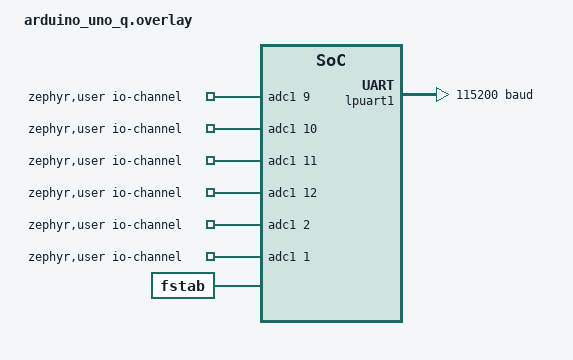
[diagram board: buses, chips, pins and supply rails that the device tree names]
/*
 * Copyright (c) 2026 Jim Wyatt
 * SPDX-License-Identifier: MIT
 *
 * The devicetree overlay for MicroPython's Zephyr port on the UNO Q, used
 * INSTEAD of the port's own boards/arduino_uno_q.overlay: mcu/micropython/
 * build.sh passes this file as DTC_OVERLAY_FILE, and naming one turns the
 * board overlay off. Two reasons it is replaced rather than added to.
 *
 * IT DOES NOT PARSE
 * -----------------
 * MicroPython v1.29.0's overlay opens with a license block written as '#'
 * lines. The devicetree preprocessor passes those through, and Zephyr's
 * devicetree parser stops at the first one:
 *
 *   arduino_uno_q.overlay:1 (column 1): parse error: expected '/' or label
 *   reference (&foo)
 *
 * MicroPython's CI does not build this board, so nothing upstream sees it.
 *
 * ITS FILESYSTEM WOULD ERASE THIS PROJECT'S SETTINGS
 * --------------------------------------------------
 * It moves the board's storage_partition to 0xf0000, 256 KiB, and mounts a
 * littlefs there at /flash. On the Zephyr this project pins, storage_partition
 * is 0xe0000..0xfffff and holds this project's NVS settings (the panel
 * orientation, mcu/app/prj.conf). Zephyr formats a littlefs partition it
 * cannot mount, so MicroPython's first boot would erase the upper half of the
 * settings, and the firmware it reverts to would come back to them broken.
 *
 * So storage_partition is left where the board file has it, and the
 * filesystem gets a partition of its own at the start of the second megabyte,
 * which nothing on this board uses ("The flash, as the board file lays it
 * out" in docs/reference/mcu.md).
 *
 * storage_partition's label changes, though, and that is a guard rather than
 * a tidy-up. The port's frozen _boot.py has a fallback: when /flash cannot be
 * mounted or formatted, it looks for a flash area labeled "storage" and
 * formats THAT as littlefs. Under its own label the board's partition is still
 * there for anyone who asks for it by name (zephyr.FlashArea.areas), and no
 * longer what a failed mount reaches for.
 *
 * Everything else is what MicroPython's overlay does, plus two things off:
 *
 * - spi3, the SPI link to Linux. Linux is the master on that bus, and this
 *   project's firmware is its slave. Zephyr's driver would make the MCU a
 *   master as well, and machine.SPI("spi3") would then drive a clock against
 *   Linux's. The header's SPI, spi2, stays on.
 * - adc4, as in mcu/app/boards/arduino_uno_q.overlay: bringing up an ADC
 *   waits for its regulator with no timeout, and nothing here reads adc4.
 */

/ {
	chosen {
		/* lpuart1 (PG7/PG8, RTS/CTS on PG6/PG5) is the UART wired to the
		 * Linux side, /dev/ttyHS1. The board file chooses usart1, the
		 * header's D0/D1, which Linux cannot see. Same as mcu/app. */
		zephyr,console = &lpuart1;
		zephyr,shell-uart = &lpuart1;
	};

	/* machine.ADC(("adc1", ch)): A0 = PA4 ch 9, A1 = PA5 ch 10,
	 * A2 = PA6 ch 11, A3 = PA7 ch 12, A4 = PC1 ch 2, A5 = PC0 ch 1. */
	zephyr,user {
		io-channels = <&adc1 9>, <&adc1 10>, <&adc1 11>,
			      <&adc1 12>, <&adc1 2>, <&adc1 1>;
	};

	fstab: fstab {
		compatible = "zephyr,fstab";

		lfs1: lfs1 {
			compatible = "zephyr,fstab,littlefs";
			mount-point = "/flash";
			partition = <&mpy_partition>;
			automount;
			/* The STM32U5 writes 16 bytes at a time. */
			read-size = <16>;
			prog-size = <16>;
			cache-size = <64>;
			lookahead-size = <32>;
			block-cycles = <512>;
		};
	};
};

&lpuart1 {
	status = "okay";
	current-speed = <115200>;
};

&storage_partition {
	label = "unoq_settings";
};

&flash0 {
	partitions {
		mpy_partition: partition@100000 {
			label = "micropython";
			reg = <0x00100000 DT_SIZE_K(256)>;
		};
	};
};

&adc4 {
	status = "disabled";
};

&spi3 {
	status = "disabled";
};
